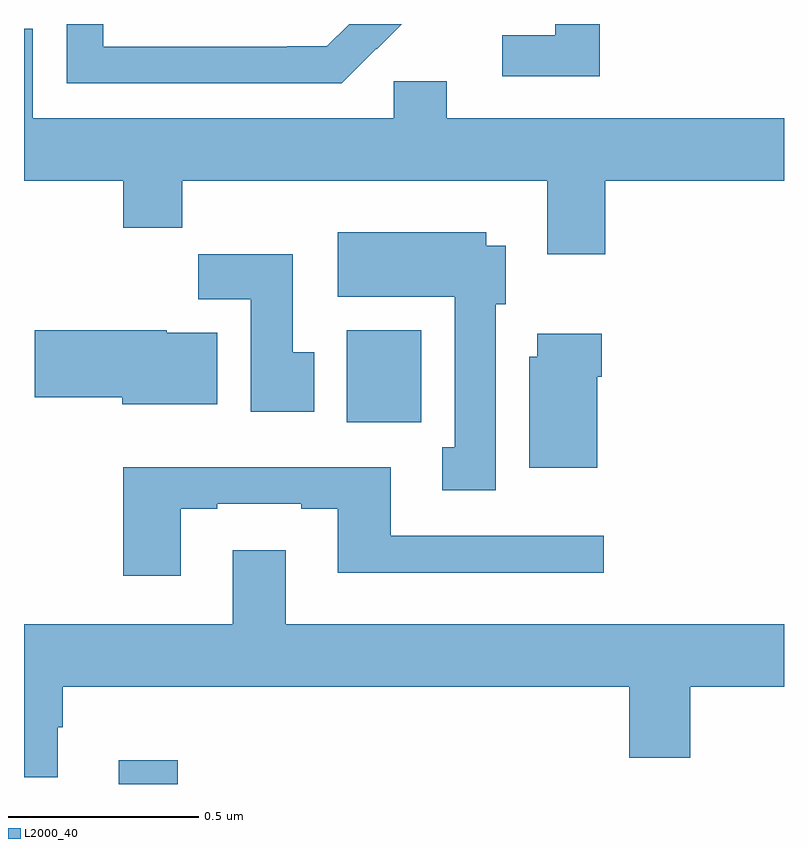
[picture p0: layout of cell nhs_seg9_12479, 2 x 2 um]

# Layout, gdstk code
import gdstk
lib = gdstk.Library(unit=1e-6, precision=1e-09)
def R(c, l, rs):  # rectangles x0, y0, x1, y1
    for r in rs: c.add(gdstk.rectangle(r[:2], r[2:], *l))
def P(c, l, *ps):  # polygons
    for p in ps: c.add(gdstk.Polygon(p, *l))
L2000_40 = (2000, 40)

nhs_seg9_12479 = lib.new_cell('nhs_seg9_12479')
R(nhs_seg9_12479, L2000_40, [(269.249,1193.5,269.405,1193.563), (269.849,1194.452,270.046,1194.694)])
P(nhs_seg9_12479, L2000_40, [(269.927,1195.435),(269.928,1195.434),(269.994,1195.5),(269.856,1195.5),(269.797,1195.441),(269.693,1195.441),(269.693,1195.44),(269.209,1195.44),(269.209,1195.5),(269.112,1195.5),(269.112,1195.344),(269.836,1195.344)],
  [(270.515,1195.5),(270.398,1195.5),(270.398,1195.471),(270.258,1195.471),(270.258,1195.362),(270.515,1195.362)],
  [(270.53,1195.088),(271,1195.088),(271,1195.252),(270.112,1195.252),(270.112,1195.35),(269.973,1195.35),(269.973,1195.252),(269.023,1195.252),(269.023,1195.488),(269,1195.488),(269,1195.088),(269.261,1195.088),(269.261,1194.964),(269.417,1194.964),(269.417,1195.088),(270.377,1195.088),(270.377,1194.894),(270.53,1194.894)],
  [(270.241,1194.762),(270.268,1194.762),(270.268,1194.916),(270.217,1194.916),(270.217,1194.952),(269.825,1194.952),(269.825,1194.782),(270.134,1194.782),(270.134,1194.386),(270.101,1194.386),(270.101,1194.273),(270.241,1194.273)],
  [(269.764,1194.636),(269.707,1194.636),(269.707,1194.894),(269.458,1194.894),(269.458,1194.776),(269.597,1194.776),(269.597,1194.48),(269.764,1194.48)],
  [(269.509,1194.688),(269.376,1194.688),(269.376,1194.694),(269.028,1194.694),(269.028,1194.518),(269.258,1194.518),(269.258,1194.5),(269.509,1194.5)],
  [(270.508,1194.572),(270.521,1194.572),(270.521,1194.685),(270.35,1194.685),(270.35,1194.624),(270.329,1194.624),(270.329,1194.332),(270.508,1194.332)],
  [(269.413,1194.225),(269.509,1194.225),(269.509,1194.237),(269.729,1194.237),(269.729,1194.225),(269.825,1194.225),(269.825,1194.056),(270.526,1194.056),(270.526,1194.153),(269.965,1194.153),(269.965,1194.334),(269.261,1194.334),(269.261,1194.048),(269.413,1194.048)],
  [(269.689,1194.115),(269.549,1194.115),(269.549,1193.92),(269,1193.92),(269,1193.518),(269.089,1193.518),(269.089,1193.65),(269.102,1193.65),(269.102,1193.756),(270.593,1193.756),(270.593,1193.569),(270.753,1193.569),(270.753,1193.756),(271,1193.756),(271,1193.92),(269.689,1193.92)])

lib.write_gds('nhs_seg9_12479.gds')
